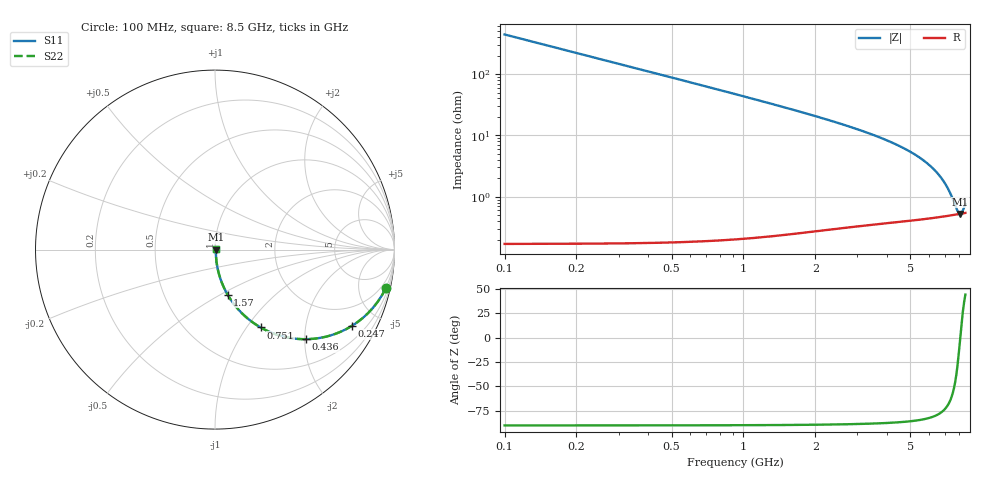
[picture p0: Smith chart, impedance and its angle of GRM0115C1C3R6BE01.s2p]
!Murata Part Number: GRM0115C1C3R6BE01
!These Parameters are Measured in Series Mode Connection
!Data Generated on Mar 30, 2021
!  o--ll--o
!Port1  Port2
!  o------o
!Operation Temp=25[degC], DC Bias Voltage=0[V]
!Freq. Start=100[MHz] Stop=9[GHz] 401[Steps]
# Hz S RI R 50
!Freq.(Hz) S11(Real) S11(Imag) S21(Real) S21(Imag) S12(Real) S12(Imag) S22(Real) S22(Imag)
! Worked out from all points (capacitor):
!   401 points, 100 MHz to 8.5 GHz, reference 50 ohm
!   read as one part in series: C = 3.6 pF near 142 MHz
!   lowest |Z| = 527 mohm at 8.08 GHz (marker M1)
!   series resonance near 8.088 GHz, so ESL is about 110 pH
!   S11 on the Smith chart (normalised r, x): 100 MHz: 1.00, -8.84; 247 MHz: 1.00, -3.58; 436 MHz: 1.00, -2.02; 751 MHz: 1.00, -1.17; 1.57 GHz: 1.00, -0.54; 8.5 GHz: 1.01, +0.01
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1e8  0.9512 -0.2152  0.0488 0.2152  0.0488 0.2152  0.9512 -0.2152
1.84e8  0.852 -0.3547  0.148 0.3547  0.148 0.3547  0.852 -0.3547
2.47e8  0.7615 -0.4257  0.2385 0.4257  0.2385 0.4257  0.7615 -0.4257
3.31e8  0.6397 -0.4794  0.3603 0.4794  0.3603 0.4794  0.6397 -0.4794
4.36e8  0.5053 -0.4991  0.4947 0.4991  0.4947 0.4991  0.5053 -0.4991
5.83e8  0.3627 -0.4796  0.6373 0.4796  0.6373 0.4796  0.3627 -0.4796
7.51e8  0.2543 -0.4339  0.7457 0.4339  0.7457 0.4339  0.2543 -0.4339
1.066e9  0.1432 -0.3477  0.8568 0.3477  0.8568 0.3477  0.1432 -0.3477
1.507e9  0.0756 -0.2602  0.9244 0.2602  0.9244 0.2602  0.0756 -0.2602
1.57e9  0.0699 -0.2505  0.9301 0.2505  0.9301 0.2505  0.0699 -0.2505
2.158e9  0.0371 -0.1816  0.9629 0.1816  0.9629 0.1816  0.0371 -0.1816
2.914e9  0.0199 -0.1279  0.9801 0.1279  0.9801 0.1279  0.0199 -0.1279
4.3e9  0.00903 -0.072  0.991 0.072  0.991 0.072  0.00903 -0.072
5.707e9  0.00574 -0.0379  0.9943 0.0379  0.9943 0.0379  0.00574 -0.0379
6.505e9  0.00514 -0.0233  0.9949 0.0233  0.9949 0.0233  0.00514 -0.0233
7.114e9  0.00502 -0.0136  0.995 0.0136  0.995 0.0136  0.00502 -0.0136
7.408e9  0.00504 -0.0093  0.995 0.0093  0.995 0.0093  0.00504 -0.0093
7.87e9  0.00516 -0.00288  0.9948 0.00288  0.9948 0.00288  0.00516 -0.00288
7.975e9  0.00519 -0.00148  0.9948 0.00148  0.9948 0.00148  0.00519 -0.00148
8.08e9  0.00524 -0.000103  0.9948 0.000103  0.9948 0.000103  0.00524 -0.000103
8.227e9  0.0053 0.00179  0.9947 -0.00179  0.9947 -0.00179  0.0053 0.00179
8.5e9  0.00544 0.00522  0.9946 -0.00522  0.9946 -0.00522  0.00544 0.00522
